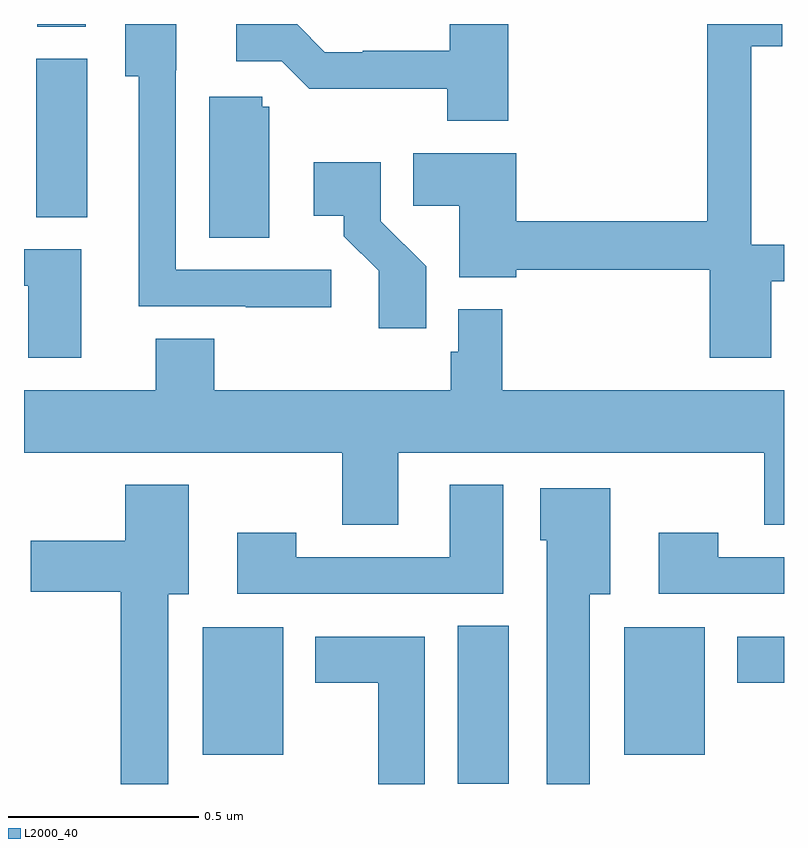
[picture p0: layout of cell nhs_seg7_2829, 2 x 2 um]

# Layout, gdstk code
import gdstk
lib = gdstk.Library(unit=1e-6, precision=1e-09)
def R(c, l, rs):  # rectangles x0, y0, x1, y1
    for r in rs: c.add(gdstk.rectangle(r[:2], r[2:], *l))
def P(c, l, *ps):  # polygons
    for p in ps: c.add(gdstk.Polygon(p, *l))
L2000_40 = (2000, 40)

nhs_seg7_2829 = lib.new_cell('nhs_seg7_2829')
R(nhs_seg7_2829, L2000_40, [(151.142,1077.001,151.276,1077.416), (150.47,1077.077,150.682,1077.412), (151.58,1077.077,151.792,1077.412), (151.877,1077.266,152,1077.388), (150.032,1078.492,150.166,1078.908), (150.035,1078.993,150.163,1079)])
P(nhs_seg7_2829, L2000_40, [(150.808,1078.353),(150.399,1078.353),(150.399,1078.878),(150.4,1078.878),(150.4,1079),(150.266,1079),(150.266,1078.862),(150.302,1078.862),(150.302,1078.257),(150.583,1078.257),(150.583,1078.255),(150.808,1078.255)],
  [(151.966,1078.323),(152,1078.323),(152,1078.419),(151.914,1078.419),(151.914,1078.941),(151.996,1078.941),(151.996,1079),(151.798,1079),(151.798,1078.481),(151.295,1078.481),(151.295,1078.66),(151.024,1078.66),(151.024,1078.522),(151.145,1078.522),(151.145,1078.334),(151.295,1078.334),(151.295,1078.353),(151.805,1078.353),(151.805,1078.122),(151.966,1078.122)],
  [(151.274,1079),(151.121,1079),(151.121,1078.929),(150.892,1078.929),(150.892,1078.926),(150.792,1078.926),(150.719,1078.999),(150.558,1078.999),(150.558,1078.902),(150.678,1078.902),(150.751,1078.829),(150.85,1078.829),(150.85,1078.83),(151.114,1078.83),(151.114,1078.745),(151.274,1078.745)],
  [(150.646,1078.782),(150.627,1078.782),(150.627,1078.809),(150.488,1078.809),(150.488,1078.438),(150.646,1078.438)],
  [(151.058,1078.362),(150.939,1078.481),(150.939,1078.636),(150.762,1078.636),(150.762,1078.496),(150.842,1078.496),(150.842,1078.441),(150.933,1078.351),(150.933,1078.2),(151.058,1078.2)],
  [(150.151,1078.407),(150,1078.407),(150,1078.311),(150.011,1078.311),(150.011,1078.122),(150.151,1078.122)],
  [(150.985,1077.872),(151.948,1077.872),(151.948,1077.682),(152,1077.682),(152,1078.036),(151.259,1078.036),(151.259,1078.249),(151.143,1078.249),(151.143,1078.137),(151.123,1078.137),(151.123,1078.036),(150.5,1078.036),(150.5,1078.172),(150.347,1078.172),(150.347,1078.036),(150,1078.036),(150,1077.872),(150.838,1077.872),(150.838,1077.682),(150.985,1077.682)],
  [(150.379,1077.5),(150.433,1077.5),(150.433,1077.787),(150.266,1077.787),(150.266,1077.64),(150.018,1077.64),(150.018,1077.506),(150.254,1077.506),(150.254,1077),(150.379,1077)],
  [(151.261,1077.787),(151.121,1077.787),(151.121,1077.597),(150.717,1077.597),(150.717,1077.661),(150.561,1077.661),(150.561,1077.501),(151.261,1077.501)],
  [(151.489,1077.5),(151.543,1077.5),(151.543,1077.778),(151.358,1077.778),(151.358,1077.642),(151.376,1077.642),(151.376,1077),(151.489,1077)],
  [(152,1077.597),(151.827,1077.597),(151.827,1077.661),(151.671,1077.661),(151.671,1077.501),(152,1077.501)],
  [(151.054,1077.388),(150.767,1077.388),(150.767,1077.266),(150.932,1077.266),(150.932,1077),(151.054,1077)])

lib.write_gds('nhs_seg7_2829.gds')
